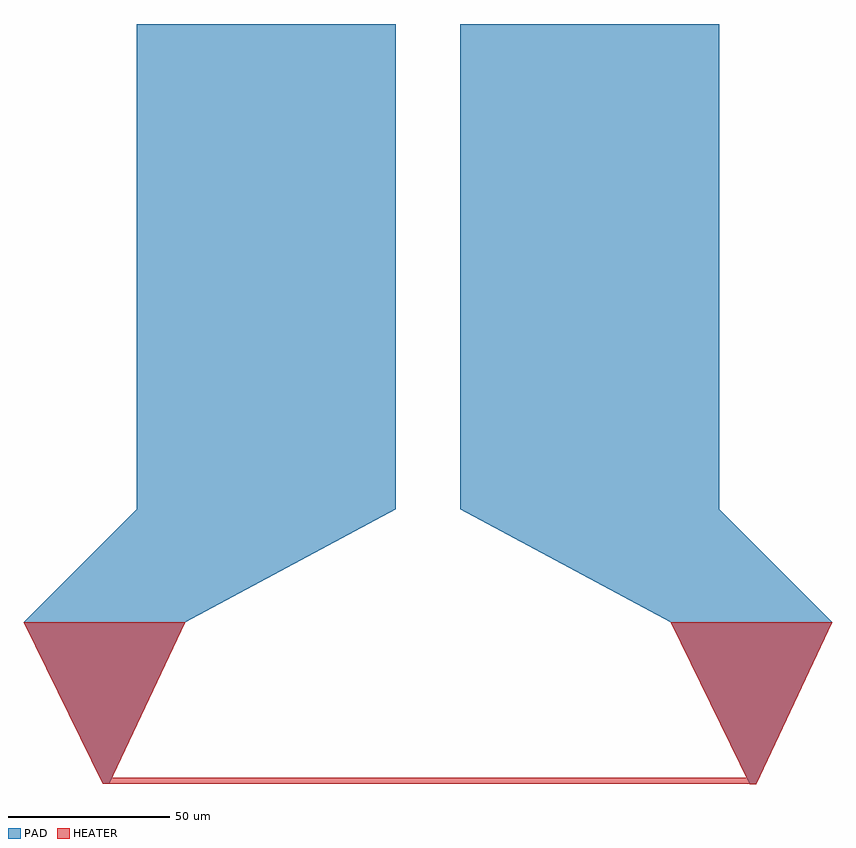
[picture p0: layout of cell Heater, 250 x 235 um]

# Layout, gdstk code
import gdstk
lib = gdstk.Library(unit=1e-6, precision=1e-09)
def R(c, l, rs):  # rectangles x0, y0, x1, y1
    for r in rs: c.add(gdstk.rectangle(r[:2], r[2:], *l))
def P(c, l, *ps):  # polygons
    for p in ps: c.add(gdstk.Polygon(p, *l))
HEATER = (39, 0)
PAD = (41, 0)

heater = lib.new_cell('Heater')
R(heater, HEATER, [(24.499,0.004,226.499,2.004)])
P(heater, HEATER, [(24.499,0.004),(0,50.004),(50,50.004),(26.501,0.004)],
  [(224.501,0),(200.002,50),(250.002,50),(226.503,0)])
R(heater, PAD, [(35,85.004,115,235.004), (135,85.004,215,235.004)])
P(heater, PAD, [(24.499,0.004),(0,50.004),(50,50.004),(26.501,0.004)],
  [(224.501,0),(200.002,50),(250.002,50),(226.503,0)],
  [(200.002,50),(135,85.004),(215,85.004),(250.002,50)],
  [(0,50.004),(35,85.004),(115,85.004),(50,50.004)])

lib.write_gds('Heater.gds')
